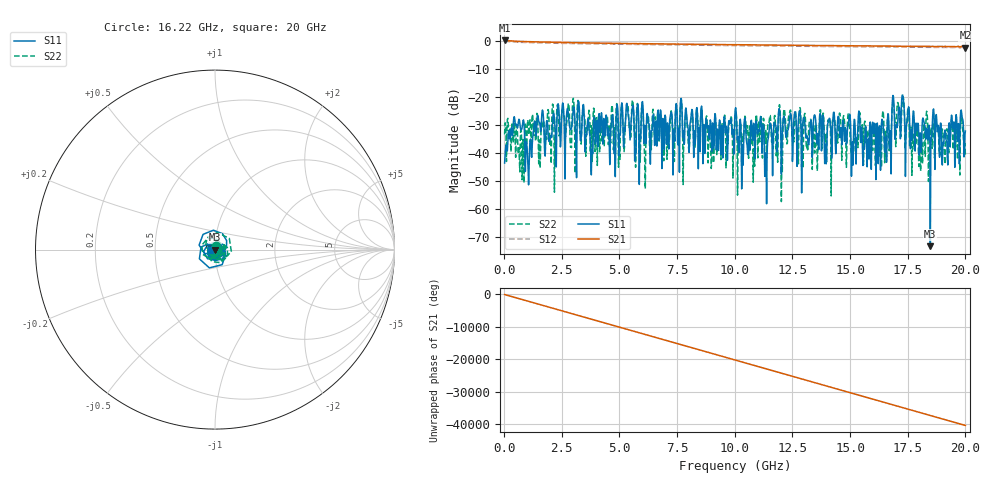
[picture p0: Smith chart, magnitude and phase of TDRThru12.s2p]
! File created by SignalIntegrity v1.3.3: Signal and Power Integrity Tools
! https://github.com/TeledyneLeCroy/SignalIntegrity
# MHz S MA R 50.0
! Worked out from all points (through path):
!   1000 points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, 20 MHz to 20 GHz, reference 50 ohm
!   highest |S21| = 0.13 dB at 20 MHz (marker M1); lowest = -2.4 dB at 20 GHz (marker M2)
!   lowest |S11| = -73.1 dB at 18.48 GHz (marker M3), VSWR 1.00, Z = 50 - j0.0149 ohm
!   |S11| at or under -10 dB: start of sweep to end of sweep
!   |S22| runs from -57.2 to -19.9 dB; largest |S21 - S12| = 0.039
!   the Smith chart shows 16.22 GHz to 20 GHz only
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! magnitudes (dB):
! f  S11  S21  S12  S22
! 20 MHz  -43.5  0.1  -0.2  -33.3
! 500 MHz  -30.1  -0.1  -0.5  -41.5
! 760 MHz  -31.5  -0.2  -0.5  -35.2
! 1 GHz  -39.1  -0.3  -0.6  -30.4
! 1.58 GHz  -32.3  -0.4  -0.7  -37.6
! 3.36 GHz  -32.9  -0.7  -1.0  -31.2
! 3.78 GHz  -47.7  -0.8  -1.1  -30.2
! 4.14 GHz  -27.9  -0.8  -1.1  -39.5
! 6.68 GHz  -24.6  -1.1  -1.4  -25.5
! 10.02 GHz  -24.4  -1.4  -1.7  -27.1
! 11.04 GHz  -31.8  -1.5  -1.8  -28.9
! 11.38 GHz  -58.0  -1.5  -1.8  -41.8
! 11.88 GHz  -28.1  -1.5  -1.8  -33.1
! 13.34 GHz  -32.3  -1.7  -2.0  -32.8
! 16.68 GHz  -29.1  -1.9  -2.2  -33.5
! 17.24 GHz  -20.7  -1.9  -2.3  -25.0
! 18.06 GHz  -33.8  -2.0  -2.3  -46.4
! 18.26 GHz  -33.2  -2.0  -2.3  -41.2
! 18.48 GHz  -73.1  -2.0  -2.3  -33.6
! 18.66 GHz  -31.9  -2.0  -2.3  -41.7
! 19.8 GHz  -24.9  -2.1  -2.4  -27.5
! 20 GHz  -32.1  -2.4  -2.7  -41.1
